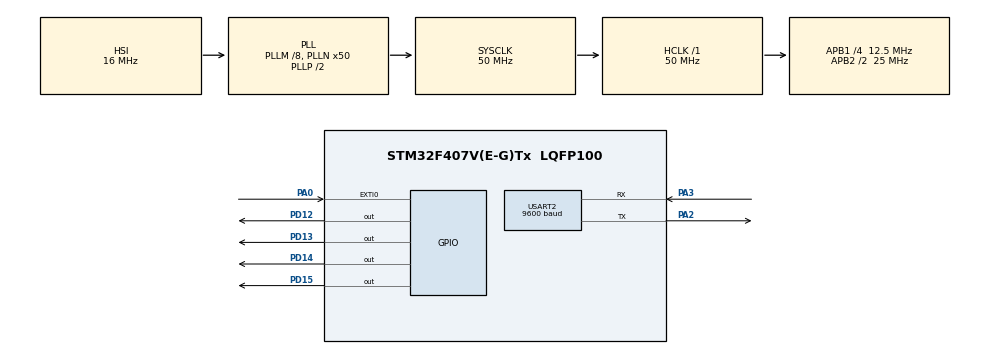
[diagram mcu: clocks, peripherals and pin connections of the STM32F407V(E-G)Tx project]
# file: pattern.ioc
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Mcu.Family=STM32F4
RCC.CortexFreq_Value=50000000
RCC.APB1CLKDivider=RCC_HCLK_DIV4
NVIC.USART2_IRQn=true\:0\:0\:false\:false\:true\:true\:true
USART2.BaudRate=9600
RCC.SYSCLKSource=RCC_SYSCLKSOURCE_PLLCLK
ProjectManager.StackSize=0x400
PA0-WKUP.Signal=GPXTI0
PD13.Signal=GPIO_Output
PA3.Mode=Asynchronous
ProjectManager.TargetToolchain=STM32CubeIDE
RCC.HCLKFreq_Value=50000000
RCC.APB2TimFreq_Value=50000000
RCC.AHBFreq_Value=50000000
RCC.HSE_VALUE=8000000
board=STM32F407G-DISC1
RCC.VCOOutputFreq_Value=100000000
RCC.APB2Freq_Value=25000000
PD13.GPIO_PuPd=GPIO_NOPULL
PD14.GPIO_PuPd=GPIO_NOPULL
Mcu.Name=STM32F407V(E-G)Tx
PA2.Signal=USART2_TX
PD14.Signal=GPIO_Output
RCC.48MHZClocksFreq_Value=14285714.285714285
RCC.SYSCLKFreq_VALUE=50000000
Mcu.Package=LQFP100
USART2.VirtualMode=VM_ASYNC
PD12.Signal=GPIO_Output
PD15.GPIO_PuPd=GPIO_NOPULL
ProjectManager.HeapSize=0x200
RCC.HSI_VALUE=16000000
RCC.PLLQ=7
NVIC.PriorityGroup=NVIC_PRIORITYGROUP_0
RCC.APB2CLKDivider=RCC_HCLK_DIV2
RCC.PLLM=8
RCC.PLLN=50
RCC.APB1TimFreq_Value=25000000
PA2.Mode=Asynchronous
RCC.APB1Freq_Value=12500000
PD15.Signal=GPIO_Output
PD12.GPIO_PuPd=GPIO_NOPULL
PA3.Signal=USART2_RX

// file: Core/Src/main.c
/* USER CODE BEGIN Header */
/**
  ******************************************************************************
  * @file           : main.c
  * @brief          : Main program body
  ******************************************************************************
  * @attention
  *
  * <h2><center>&copy; Copyright (c) 2022 STMicroelectronics.
  * All rights reserved.</center></h2>
  *
  * This software component is licensed by ST under Ultimate Liberty license
  * SLA0044, the "License"; You may not use this file except in compliance with
  * the License. You may obtain a copy of the License at:
  *                             www.st.com/SLA0044
  *
  ******************************************************************************
  */
/* USER CODE END Header */
#include "main.h"

/* USER CODE BEGIN Includes */
#include<stdio.h>
#include<string.h>

/* USER CODE END Includes */

UART_HandleTypeDef huart2;

/* USER CODE BEGIN PV */
volatile int switch_flag =0;

/* USER CODE END PV */

void SystemClock_Config(void);
static void MX_GPIO_Init(void);
static void MX_USART2_UART_Init(void);
/* USER CODE BEGIN PFP */
void pattern1();
void pattern2();
void pattern3();
/* USER CODE END PFP */

/* USER CODE BEGIN 0 */
void UartReceive(char str[])
{
	char ch;
	int i =0;

	do{
		HAL_UART_Receive(&huart2,(uint8_t*)	&ch, 1, HAL_MAX_DELAY);

		str[i]= ch;
		i++;
	}while(ch != '\r');
	str[i]= '\n';
	i++;
	str[i]= '\0';
}

/* USER CODE END 0 */

int main(void)
{
  /* USER CODE BEGIN 1 */
	char str[100],choice;

	if(switch_flag == 1)
	{
		strcpy(str,"Choose One Option....\r\na.LED Pattern 1\r\nb.LED Pattern 2\r\nc.LED Pattern 3\r\n");
		HAL_UART_Transmit(&huart2, (uint8_t*)str, strlen(str), HAL_MAX_DELAY);
	}

	UartReceive(str);

	sscanf(str,"%c",&choice);
	HAL_UART_Transmit(&huart2, (uint8_t*)str, strlen(str), HAL_MAX_DELAY);

	switch(choice)
	{
	case 'a':
		pattern1();
		break;
	case 'b':
		pattern2();
		break;
	case 'c':
		pattern3();
		break;
	}

  /* USER CODE END 1 */

  /* MCU Configuration--------------------------------------------------------*/

  /* Reset of all peripherals, Initializes the Flash interface and the Systick. */
  HAL_Init();

  /* Configure the system clock */
  SystemClock_Config();

  /* Initialize all configured peripherals */
  MX_GPIO_Init();
  MX_USART2_UART_Init();

  /* Infinite loop */
  while (1)
  {

  }
}

void SystemClock_Config(void)
{
  RCC_OscInitTypeDef RCC_OscInitStruct = {0};
  RCC_ClkInitTypeDef RCC_ClkInitStruct = {0};

  /** Configure the main internal regulator output voltage
  */
  __HAL_RCC_PWR_CLK_ENABLE();
  __HAL_PWR_VOLTAGESCALING_CONFIG(PWR_REGULATOR_VOLTAGE_SCALE1);
  /** Initializes the RCC Oscillators according to the specified parameters
  * in the RCC_OscInitTypeDef structure.
  */
  RCC_OscInitStruct.OscillatorType = RCC_OSCILLATORTYPE_HSI;
  RCC_OscInitStruct.HSIState = RCC_HSI_ON;
  RCC_OscInitStruct.HSICalibrationValue = RCC_HSICALIBRATION_DEFAULT;
  RCC_OscInitStruct.PLL.PLLState = RCC_PLL_ON;
  RCC_OscInitStruct.PLL.PLLSource = RCC_PLLSOURCE_HSI;
  RCC_OscInitStruct.PLL.PLLM = 8;
  RCC_OscInitStruct.PLL.PLLN = 50;
  RCC_OscInitStruct.PLL.PLLP = RCC_PLLP_DIV2;
  RCC_OscInitStruct.PLL.PLLQ = 7;
  if (HAL_RCC_OscConfig(&RCC_OscInitStruct) != HAL_OK)
  {
    Error_Handler();
  }
  /** Initializes the CPU, AHB and APB buses clocks
  */
  RCC_ClkInitStruct.ClockType = RCC_CLOCKTYPE_HCLK|RCC_CLOCKTYPE_SYSCLK
                              |RCC_CLOCKTYPE_PCLK1|RCC_CLOCKTYPE_PCLK2;
  RCC_ClkInitStruct.SYSCLKSource = RCC_SYSCLKSOURCE_PLLCLK;
  RCC_ClkInitStruct.AHBCLKDivider = RCC_SYSCLK_DIV1;
  RCC_ClkInitStruct.APB1CLKDivider = RCC_HCLK_DIV4;
  RCC_ClkInitStruct.APB2CLKDivider = RCC_HCLK_DIV2;

  if (HAL_RCC_ClockConfig(&RCC_ClkInitStruct, FLASH_LATENCY_1) != HAL_OK)
  {
    Error_Handler();
  }
}

static void MX_USART2_UART_Init(void)
{

  huart2.Instance = USART2;
  huart2.Init.BaudRate = 9600;
  huart2.Init.WordLength = UART_WORDLENGTH_8B;
  huart2.Init.StopBits = UART_STOPBITS_1;
  huart2.Init.Parity = UART_PARITY_NONE;
  huart2.Init.Mode = UART_MODE_TX_RX;
  huart2.Init.HwFlowCtl = UART_HWCONTROL_NONE;
  huart2.Init.OverSampling = UART_OVERSAMPLING_16;
  if (HAL_UART_Init(&huart2) != HAL_OK)
  {
    Error_Handler();
  }

}

static void MX_GPIO_Init(void)
{
  GPIO_InitTypeDef GPIO_InitStruct = {0};

  /* GPIO Ports Clock Enable */
  __HAL_RCC_GPIOA_CLK_ENABLE();
  __HAL_RCC_GPIOD_CLK_ENABLE();

  /*Configure GPIO pin Output Level */
  HAL_GPIO_WritePin(GPIOD, GPIO_PIN_12|GPIO_PIN_13|GPIO_PIN_14|GPIO_PIN_15, GPIO_PIN_RESET);

  /*Configure GPIO pin : PA0 */
  GPIO_InitStruct.Pin = GPIO_PIN_0;
  GPIO_InitStruct.Mode = GPIO_MODE_IT_RISING;
  GPIO_InitStruct.Pull = GPIO_NOPULL;
  HAL_GPIO_Init(GPIOA, &GPIO_InitStruct);

  /*Configure GPIO pins : PD12 PD13 PD14 PD15 */
  GPIO_InitStruct.Pin = GPIO_PIN_12|GPIO_PIN_13|GPIO_PIN_14|GPIO_PIN_15;
  GPIO_InitStruct.Mode = GPIO_MODE_OUTPUT_PP;
  GPIO_InitStruct.Pull = GPIO_NOPULL;
  GPIO_InitStruct.Speed = GPIO_SPEED_FREQ_LOW;
  HAL_GPIO_Init(GPIOD, &GPIO_InitStruct);

}

/* USER CODE BEGIN 4 */
void pattern1()
{
	while(1)
	{
		HAL_GPIO_WritePin(GPIOD, GPIO_PIN_12, GPIO_PIN_SET);
		HAL_GPIO_WritePin(GPIOD, GPIO_PIN_13, GPIO_PIN_SET);
		HAL_GPIO_WritePin(GPIOD, GPIO_PIN_14, GPIO_PIN_SET);
		HAL_GPIO_WritePin(GPIOD, GPIO_PIN_15, GPIO_PIN_SET);

		HAL_Delay(1000);
		HAL_GPIO_WritePin(GPIOD, GPIO_PIN_12, GPIO_PIN_RESET);
		HAL_GPIO_WritePin(GPIOD, GPIO_PIN_13, GPIO_PIN_RESET);
		HAL_GPIO_WritePin(GPIOD, GPIO_PIN_14, GPIO_PIN_RESET);
		HAL_GPIO_WritePin(GPIOD, GPIO_PIN_15, GPIO_PIN_RESET);
	}
}
void pattern2()
{
	while(1)
	{
		HAL_GPIO_WritePin(GPIOD, GPIO_PIN_12, GPIO_PIN_SET);
		HAL_Delay(1000);
		HAL_GPIO_WritePin(GPIOD, GPIO_PIN_13, GPIO_PIN_SET);
		HAL_Delay(1000);
		HAL_GPIO_WritePin(GPIOD, GPIO_PIN_14, GPIO_PIN_SET);
		HAL_Delay(1000);
		HAL_GPIO_WritePin(GPIOD, GPIO_PIN_15, GPIO_PIN_SET);
		HAL_Delay(1000);
	}
}
void pattern3()
{
	while(1)
	{
		HAL_GPIO_WritePin(GPIOD, GPIO_PIN_12, GPIO_PIN_SET);
		HAL_GPIO_WritePin(GPIOD, GPIO_PIN_14, GPIO_PIN_SET);
		HAL_Delay(1000);
		HAL_GPIO_WritePin(GPIOD, GPIO_PIN_13, GPIO_PIN_SET);
		HAL_GPIO_WritePin(GPIOD, GPIO_PIN_15, GPIO_PIN_SET);
		HAL_Delay(1000);
	}
}

void HAL_GPIOEXIT_Callback(uint16_t GPIO_Pin)
{
	switch_flag = 1;
}

/* USER CODE END 4 */

void Error_Handler(void)
{
  __disable_irq();
  while (1)
  {
  }
}

/************************ (C) COPYRIGHT STMicroelectronics *****END OF FILE****/
